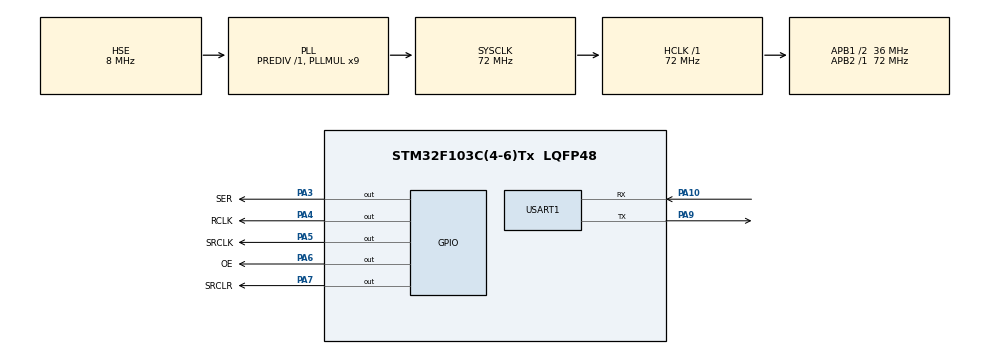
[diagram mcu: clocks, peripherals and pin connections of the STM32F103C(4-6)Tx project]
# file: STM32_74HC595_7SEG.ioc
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Mcu.Family=STM32F1
Mcu.Name=STM32F103C(4-6)Tx
Mcu.Package=LQFP48
NVIC.PriorityGroup=NVIC_PRIORITYGROUP_4
NVIC.USART1_IRQn=true\:0\:0\:false\:false\:true\:true\:true\:true
PA10.Mode=Asynchronous
PA10.Signal=USART1_RX
PA3.GPIO_Label=SER
PA3.Signal=GPIO_Output
PA4.GPIO_Label=RCLK
PA4.Signal=GPIO_Output
PA5.GPIO_Label=SRCLK
PA5.Signal=GPIO_Output
PA6.GPIO_Label=OE
PA6.Signal=GPIO_Output
PA7.GPIO_Label=SRCLR
PA7.Signal=GPIO_Output
PA9.Mode=Asynchronous
PA9.Signal=USART1_TX
PD0-OSC_IN.Mode=HSE-External-Oscillator
PD0-OSC_IN.Signal=RCC_OSC_IN
PD1-OSC_OUT.Mode=HSE-External-Oscillator
PD1-OSC_OUT.Signal=RCC_OSC_OUT
ProjectManager.HeapSize=0x200
ProjectManager.StackSize=0x400
ProjectManager.TargetToolchain=STM32CubeIDE
RCC.AHBFreq_Value=72000000
RCC.APB1CLKDivider=RCC_HCLK_DIV2
RCC.APB1Freq_Value=36000000
RCC.APB1TimFreq_Value=72000000
RCC.APB2Freq_Value=72000000
RCC.APB2TimFreq_Value=72000000
RCC.HCLKFreq_Value=72000000
RCC.PLLMUL=RCC_PLL_MUL9
RCC.PLLSourceVirtual=RCC_PLLSOURCE_HSE
RCC.SYSCLKFreq_VALUE=72000000
RCC.SYSCLKSource=RCC_SYSCLKSOURCE_PLLCLK
RCC.USBFreq_Value=72000000
USART1.VirtualMode=VM_ASYNC
VP_SYS_VS_ND.Mode=No_Debug
board=custom

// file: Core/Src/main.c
/* USER CODE BEGIN Header */
/**
  ******************************************************************************
  * @file           : main.c
  * @brief          : Main program body
  ******************************************************************************
  * @attention
  *
  * Copyright (c) 2024 STMicroelectronics.
  * All rights reserved.
  *
  * This software is licensed under terms that can be found in the LICENSE file
  * in the root directory of this software component.
  * If no LICENSE file comes with this software, it is provided AS-IS.
  *
  ******************************************************************************
  */
/* USER CODE END Header */
#include "main.h"

/* USER CODE BEGIN Includes */
#include "uart.h"

/* USER CODE END Includes */

UART_HandleTypeDef huart1;

void SystemClock_Config(void);
static void MX_GPIO_Init(void);
static void MX_USART1_UART_Init(void);

/* USER CODE BEGIN 0 */
uint8_t buff[32];
extern ring_buffer_t uart_rx;
uint16_t number[10] = { 0b00000011, 0b10011111, 0b00100101, 0b00001101,
                        0b10011001, 0b01001001, 0b01000001, 0b00011011, 0b00000001, 0b00001001 };

/* USER CODE END 0 */

int main(void)
{
  /* USER CODE BEGIN 1 */

  static uint8_t cnt = 0;  // Counter from 0 to 9
  /* USER CODE END 1 */

  /* MCU Configuration--------------------------------------------------------*/

  /* Reset of all peripherals, Initializes the Flash interface and the Systick. */
  HAL_Init();

  /* Configure the system clock */
  SystemClock_Config();

  /* Initialize all configured peripherals */
  MX_GPIO_Init();
  MX_USART1_UART_Init();
  /* USER CODE BEGIN 2 */

  /* Enable the UART Error Interrupt: (Frame error, noise error, overrun error) */
  __HAL_UART_ENABLE_IT(&huart1, UART_IT_ERR);

  /* Enable the UART Data Register not empty Interrupt */
  __HAL_UART_ENABLE_IT(&huart1, UART_IT_RXNE);
  /* USER CODE END 2 */

  /* Infinite loop */
  while (1)
  {

    /* USER CODE BEGIN 3 */
	  uint8_t data = number[cnt];  // Get the data for the current count

	      HAL_GPIO_WritePin(GPIOA, SRCLR_Pin, GPIO_PIN_SET);
	      HAL_GPIO_WritePin(OE_GPIO_Port, OE_Pin, GPIO_PIN_SET);

	      for(int i = 0; i < 8; i++) {
	          if(data & (1 << i)) {
	              HAL_GPIO_WritePin(GPIOA, SER_Pin, GPIO_PIN_SET); // SER_Pin, 1
	          } else {
	              HAL_GPIO_WritePin(GPIOA, SER_Pin, GPIO_PIN_RESET); // SER_Pin, 0
	          }
	          HAL_GPIO_WritePin(GPIOA, SRCLK_Pin, GPIO_PIN_SET);
	          HAL_GPIO_WritePin(GPIOA, SRCLK_Pin, GPIO_PIN_RESET);
	      }

	      HAL_GPIO_WritePin(GPIOA, RCLK_Pin, GPIO_PIN_SET);
	      HAL_GPIO_WritePin(GPIOA, RCLK_Pin, GPIO_PIN_RESET);

	      HAL_GPIO_WritePin(OE_GPIO_Port, OE_Pin, GPIO_PIN_RESET);
	      HAL_GPIO_WritePin(GPIOA, SRCLR_Pin, GPIO_PIN_RESET);

	      cnt = (cnt + 1) % 10;  // Increment counter and wrap around to 0 after 9
	      HAL_Delay(1000);  // Delay to make the counter increment every second (adjust as needed)

  }
  /* USER CODE END 3 */
}

void SystemClock_Config(void)
{
  RCC_OscInitTypeDef RCC_OscInitStruct = {0};
  RCC_ClkInitTypeDef RCC_ClkInitStruct = {0};

  /** Initializes the RCC Oscillators according to the specified parameters
  * in the RCC_OscInitTypeDef structure.
  */
  RCC_OscInitStruct.OscillatorType = RCC_OSCILLATORTYPE_HSE;
  RCC_OscInitStruct.HSEState = RCC_HSE_BYPASS;
  RCC_OscInitStruct.HSEPredivValue = RCC_HSE_PREDIV_DIV1;
  RCC_OscInitStruct.HSIState = RCC_HSI_ON;
  RCC_OscInitStruct.PLL.PLLState = RCC_PLL_ON;
  RCC_OscInitStruct.PLL.PLLSource = RCC_PLLSOURCE_HSE;
  RCC_OscInitStruct.PLL.PLLMUL = RCC_PLL_MUL9;
  if (HAL_RCC_OscConfig(&RCC_OscInitStruct) != HAL_OK)
  {
    Error_Handler();
  }

  /** Initializes the CPU, AHB and APB buses clocks
  */
  RCC_ClkInitStruct.ClockType = RCC_CLOCKTYPE_HCLK|RCC_CLOCKTYPE_SYSCLK
                              |RCC_CLOCKTYPE_PCLK1|RCC_CLOCKTYPE_PCLK2;
  RCC_ClkInitStruct.SYSCLKSource = RCC_SYSCLKSOURCE_PLLCLK;
  RCC_ClkInitStruct.AHBCLKDivider = RCC_SYSCLK_DIV1;
  RCC_ClkInitStruct.APB1CLKDivider = RCC_HCLK_DIV2;
  RCC_ClkInitStruct.APB2CLKDivider = RCC_HCLK_DIV1;

  if (HAL_RCC_ClockConfig(&RCC_ClkInitStruct, FLASH_LATENCY_2) != HAL_OK)
  {
    Error_Handler();
  }
}

static void MX_USART1_UART_Init(void)
{

  huart1.Instance = USART1;
  huart1.Init.BaudRate = 115200;
  huart1.Init.WordLength = UART_WORDLENGTH_8B;
  huart1.Init.StopBits = UART_STOPBITS_1;
  huart1.Init.Parity = UART_PARITY_NONE;
  huart1.Init.Mode = UART_MODE_TX_RX;
  huart1.Init.HwFlowCtl = UART_HWCONTROL_NONE;
  huart1.Init.OverSampling = UART_OVERSAMPLING_16;
  if (HAL_UART_Init(&huart1) != HAL_OK)
  {
    Error_Handler();
  }

}

static void MX_GPIO_Init(void)
{
  GPIO_InitTypeDef GPIO_InitStruct = {0};

  /* GPIO Ports Clock Enable */
  __HAL_RCC_GPIOD_CLK_ENABLE();
  __HAL_RCC_GPIOA_CLK_ENABLE();

  /*Configure GPIO pin Output Level */
  HAL_GPIO_WritePin(GPIOA, SER_Pin|RCLK_Pin|SRCLK_Pin, GPIO_PIN_RESET);

  /*Configure GPIO pin Output Level */
  HAL_GPIO_WritePin(GPIOA, OE_Pin|SRCLR_Pin, GPIO_PIN_SET);

  /*Configure GPIO pins : SER_Pin RCLK_Pin SRCLK_Pin OE_Pin
                           SRCLR_Pin */
  GPIO_InitStruct.Pin = SER_Pin|RCLK_Pin|SRCLK_Pin|OE_Pin
                          |SRCLR_Pin;
  GPIO_InitStruct.Mode = GPIO_MODE_OUTPUT_PP;
  GPIO_InitStruct.Pull = GPIO_NOPULL;
  GPIO_InitStruct.Speed = GPIO_SPEED_FREQ_LOW;
  HAL_GPIO_Init(GPIOA, &GPIO_InitStruct);

}

void Error_Handler(void)
{
  __disable_irq();
  while (1)
  {
  }
}
